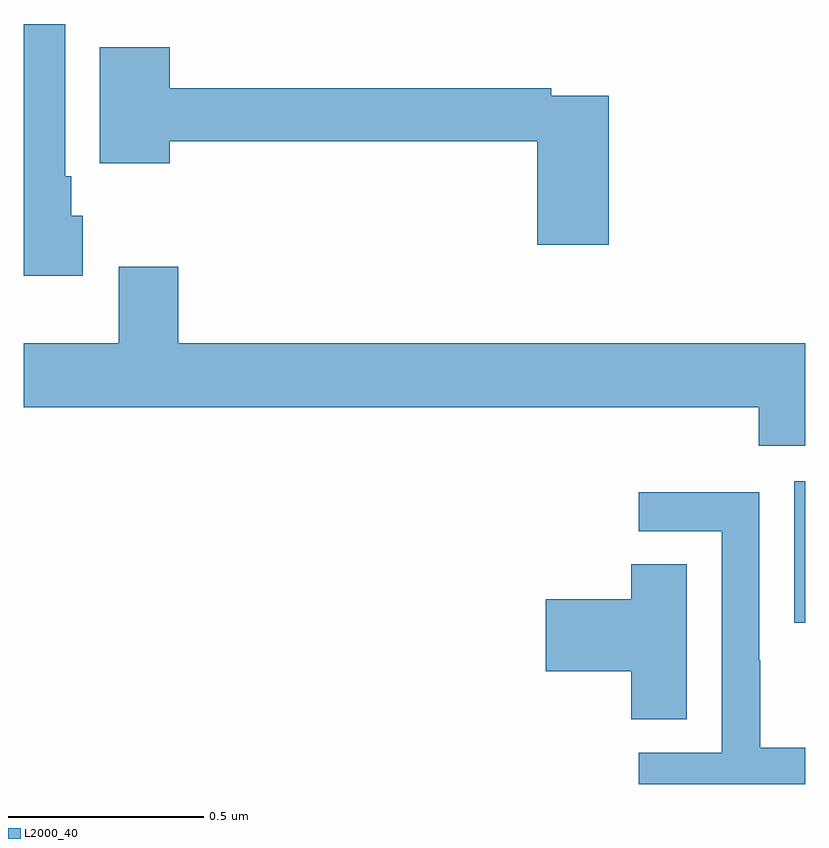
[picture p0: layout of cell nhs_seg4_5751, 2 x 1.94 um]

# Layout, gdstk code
import gdstk
lib = gdstk.Library(unit=1e-6, precision=1e-09)
def R(c, l, rs):  # rectangles x0, y0, x1, y1
    for r in rs: c.add(gdstk.rectangle(r[:2], r[2:], *l))
def P(c, l, *ps):  # polygons
    for p in ps: c.add(gdstk.Polygon(p, *l))
L2000_40 = (2000, 40)

nhs_seg4_5751 = lib.new_cell('nhs_seg4_5751')
R(nhs_seg4_5751, L2000_40, [(183.971,752.313,184,752.674)])
P(nhs_seg4_5751, L2000_40, [(182.152,753.354),(182.122,753.354),(182.122,753.454),(182.107,753.454),(182.107,753.844),(182,753.844),(182,753.2),(182.152,753.2)],
  [(183.497,753.66),(183.35,753.66),(183.35,753.68),(182.374,753.68),(182.374,753.784),(182.195,753.784),(182.195,753.488),(182.374,753.488),(182.374,753.544),(183.314,753.544),(183.314,753.279),(183.497,753.279)],
  [(184,753.028),(182.396,753.028),(182.396,753.223),(182.243,753.223),(182.243,753.028),(182,753.028),(182,752.864),(183.881,752.864),(183.881,752.765),(184,752.765)],
  [(184,751.993),(183.885,751.993),(183.885,752.216),(183.882,752.216),(183.882,752.646),(183.573,752.646),(183.573,752.547),(183.786,752.547),(183.786,751.98),(183.573,751.98),(183.573,751.9),(184,751.9)],
  [(183.697,752.462),(183.554,752.462),(183.554,752.372),(183.336,752.372),(183.336,752.189),(183.554,752.189),(183.554,752.065),(183.697,752.065)])

lib.write_gds('nhs_seg4_5751.gds')
